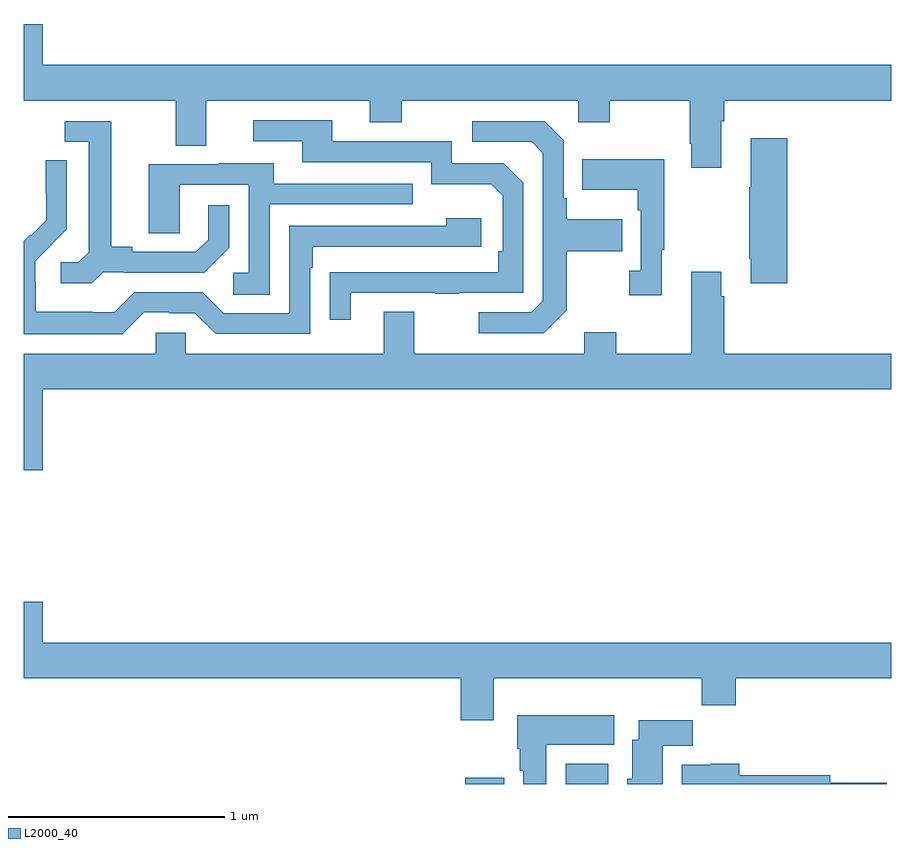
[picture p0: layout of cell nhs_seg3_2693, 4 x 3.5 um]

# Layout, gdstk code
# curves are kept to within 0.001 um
import gdstk
lib = gdstk.Library(unit=1e-6, precision=1e-09)
def R(c, l, rs):  # rectangles x0, y0, x1, y1
    for r in rs: c.add(gdstk.rectangle(r[:2], r[2:], *l))
def P(c, l, *ps):  # polygons
    for p in ps: c.add(gdstk.Polygon(p, *l))
L2000_40 = (2000, 40)

nhs_seg3_2693 = lib.new_cell('nhs_seg3_2693')
R(nhs_seg3_2693, L2000_40, [(251.036,728.4,251.215,728.428), (251.499,728.4,251.695,728.494)])
P(nhs_seg3_2693, L2000_40, [(252.217,731.456),(252.23,731.456),(252.23,731.552),(253,731.552),(253,731.716),(249.088,731.716),(249.088,731.905),(249,731.905),(249,731.552),(249.701,731.552),(249.701,731.344),(249.841,731.344),(249.841,731.552),(250.595,731.552),(250.595,731.453),(250.743,731.453),(250.743,731.552),(251.556,731.552),(251.556,731.453),(251.703,731.453),(251.703,731.552),(252.07,731.552),(252.07,731.353),(252.077,731.353),(252.077,731.241),(252.217,731.241)],
  [(250.507,730.665),(250.897,730.665),(250.897,730.66),(251.009,730.66),(251.009,730.665),(251.304,730.665),(251.304,731.172),(251.214,731.262),(250.974,731.262),(250.974,731.364),(250.423,731.364),(250.423,731.46),(250.059,731.46),(250.059,731.364),(250.283,731.364),(250.283,731.268),(250.878,731.268),(250.878,731.165),(251.155,731.165),(251.208,731.112),(251.208,730.858),(251.188,730.858),(251.188,730.761),(250.411,730.76),(250.411,730.542),(250.507,730.542)],
  [(251.503,730.585),(251.503,730.858),(251.759,730.858),(251.759,731.005),(251.503,731.005),(251.503,731.101),(251.49,731.101),(251.49,731.37),(251.403,731.457),(251.067,731.457),(251.067,731.361),(251.343,731.361),(251.394,731.31),(251.394,730.629),(251.34,730.575),(251.097,730.575),(251.097,730.479),(251.397,730.479)],
  [(249.366,730.761),(249.46,730.761),(249.46,730.758),(249.832,730.758),(249.948,730.874),(249.948,731.068),(249.851,731.068),(249.851,730.911),(249.794,730.854),(249.499,730.854),(249.499,730.877),(249.403,730.877),(249.403,731.457),(249.189,731.457),(249.189,731.361),(249.299,731.361),(249.299,730.853),(249.252,730.806),(249.171,730.806),(249.171,730.709),(249.314,730.709)],
  [(252.521,731.377),(252.353,731.377),(252.353,731.153),(252.346,731.153),(252.346,730.822),(252.353,730.822),(252.353,730.71),(252.521,730.71)],
  [(251.941,730.865),(251.953,730.865),(251.953,731.281),(251.575,731.281),(251.575,731.141),(251.832,731.141),(251.832,731.045),(251.844,731.045),(251.844,730.766),(251.793,730.766),(251.793,730.653),(251.941,730.653)],
  [(249.555,730.575),(249.671,730.575),(249.671,730.572),(249.789,730.572),(249.885,730.476),(250.32,730.476),(250.32,730.781),(250.333,730.781),(250.333,730.878),(251.11,730.878),(251.11,731.008),(250.949,731.008),(250.949,730.974),(250.224,730.974),(250.224,730.572),(249.921,730.572),(249.825,730.668),(249.51,730.668),(249.417,730.575),(249.317,730.575),(249.317,730.579),(249.054,730.579),(249.054,730.713),(249.052,730.713),(249.052,730.81),(249.198,730.958),(249.198,731.276),(249.102,731.276),(249.102,731.122),(249.104,731.122),(249.104,731),(249.033,730.929),(249.03,730.932),(249,730.902),(249,730.475),(249.455,730.475)],
  [(250.134,731.073),(250.793,731.073),(250.793,731.169),(250.153,731.169),(250.153,731.263),(249.899,731.263),(249.899,731.259),(249.575,731.259),(249.575,730.939),(249.72,730.939),(249.72,731.163),(250.038,731.163),(250.038,730.758),(249.966,730.758),(249.966,730.657),(250.134,730.657)],
  [(249.088,730.22),(253,730.22),(253,730.384),(252.23,730.384),(252.23,730.649),(252.217,730.649),(252.217,730.762),(252.077,730.762),(252.077,730.384),(251.733,730.384),(251.733,730.483),(251.585,730.483),(251.585,730.384),(250.801,730.384),(250.801,730.579),(250.661,730.579),(250.661,730.384),(249.747,730.384),(249.747,730.482),(249.609,730.482),(249.609,730.384),(249,730.384),(249,729.846),(249.088,729.846)],
  [(251.167,728.888),(252.127,728.888),(252.127,728.764),(252.284,728.764),(252.284,728.888),(253,728.888),(253,729.052),(249.088,729.052),(249.088,729.241),(249,729.241),(249,728.888),(251.015,728.888),(251.015,728.694),(251.167,728.694)],
  [(251.41,728.582),(251.722,728.582),(251.722,728.716),(251.276,728.716),(251.276,728.562),(251.288,728.562),(251.288,728.462),(251.303,728.462),(251.303,728.4),(251.41,728.4)],
  [(251.947,728.576),(252.086,728.576),(252.086,728.695),(251.837,728.695),(251.837,728.605),(251.807,728.605),(251.807,728.424),(251.783,728.424),(251.783,728.4),(251.947,728.4)],
  [(252.979,728.406),(252.718,728.406),(252.718,728.44),(252.299,728.44),(252.299,728.494),(252.168,728.494),(252.168,728.488),(252.035,728.488),(252.035,728.4),(252.979,728.4)])

lib.write_gds('nhs_seg3_2693.gds')
